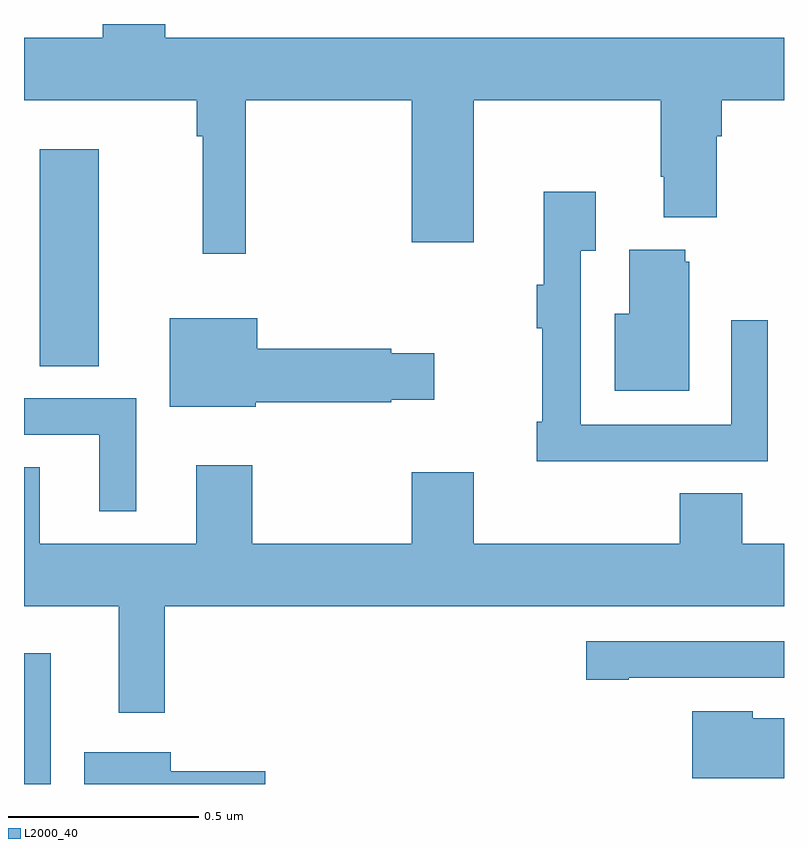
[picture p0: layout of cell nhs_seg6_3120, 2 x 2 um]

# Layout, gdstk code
import gdstk
lib = gdstk.Library(unit=1e-6, precision=1e-09)
def R(c, l, rs):  # rectangles x0, y0, x1, y1
    for r in rs: c.add(gdstk.rectangle(r[:2], r[2:], *l))
def P(c, l, *ps):  # polygons
    for p in ps: c.add(gdstk.Polygon(p, *l))
L2000_40 = (2000, 40)

nhs_seg6_3120 = lib.new_cell('nhs_seg6_3120')
R(nhs_seg6_3120, L2000_40, [(152,981.5,152.071,981.844), (152.042,982.6,152.197,983.17)])
P(nhs_seg6_3120, L2000_40, [(152.584,983.3),(153.02,983.3),(153.02,982.926),(153.184,982.926),(153.184,983.3),(153.676,983.3),(153.676,983.098),(153.683,983.098),(153.683,982.991),(153.823,982.991),(153.823,983.204),(153.836,983.204),(153.836,983.3),(154,983.3),(154,983.464),(152.372,983.464),(152.372,983.5),(152.207,983.5),(152.207,983.464),(152,983.464),(152,983.3),(152.455,983.3),(152.455,983.204),(152.47,983.204),(152.47,982.896),(152.584,982.896)],
  [(153.641,982.35),(153.957,982.35),(153.957,982.72),(153.861,982.72),(153.861,982.446),(153.465,982.446),(153.465,982.903),(153.505,982.903),(153.505,983.059),(153.368,983.059),(153.368,982.814),(153.349,982.814),(153.349,982.7),(153.364,982.7),(153.364,982.453),(153.349,982.453),(153.349,982.349),(153.641,982.349)],
  [(153.751,982.875),(153.74,982.875),(153.74,982.906),(153.593,982.906),(153.593,982.738),(153.554,982.738),(153.554,982.535),(153.751,982.535)],
  [(152.61,982.504),(152.966,982.504),(152.966,982.511),(153.079,982.511),(153.079,982.633),(152.966,982.633),(152.966,982.646),(152.614,982.646),(152.614,982.726),(152.384,982.726),(152.384,982.493),(152.61,982.493)],
  [(152.296,982.515),(152,982.515),(152,982.419),(152.198,982.419),(152.198,982.218),(152.296,982.218)],
  [(152.371,981.968),(154,981.968),(154,982.132),(153.89,982.132),(153.89,982.265),(153.725,982.265),(153.725,982.132),(153.184,982.132),(153.184,982.321),(153.02,982.321),(153.02,982.132),(152.601,982.132),(152.601,982.339),(152.453,982.339),(152.453,982.132),(152.041,982.132),(152.041,982.334),(152,982.334),(152,981.968),(152.249,981.968),(152.249,981.687),(152.371,981.687)],
  [(153.592,981.78),(154,981.78),(154,981.876),(153.48,981.876),(153.48,981.775),(153.592,981.775)],
  [(154,981.673),(153.918,981.673),(153.918,981.691),(153.758,981.691),(153.758,981.515),(154,981.515)],
  [(152.635,981.534),(152.386,981.534),(152.386,981.583),(152.159,981.583),(152.159,981.5),(152.635,981.5)])

lib.write_gds('nhs_seg6_3120.gds')
